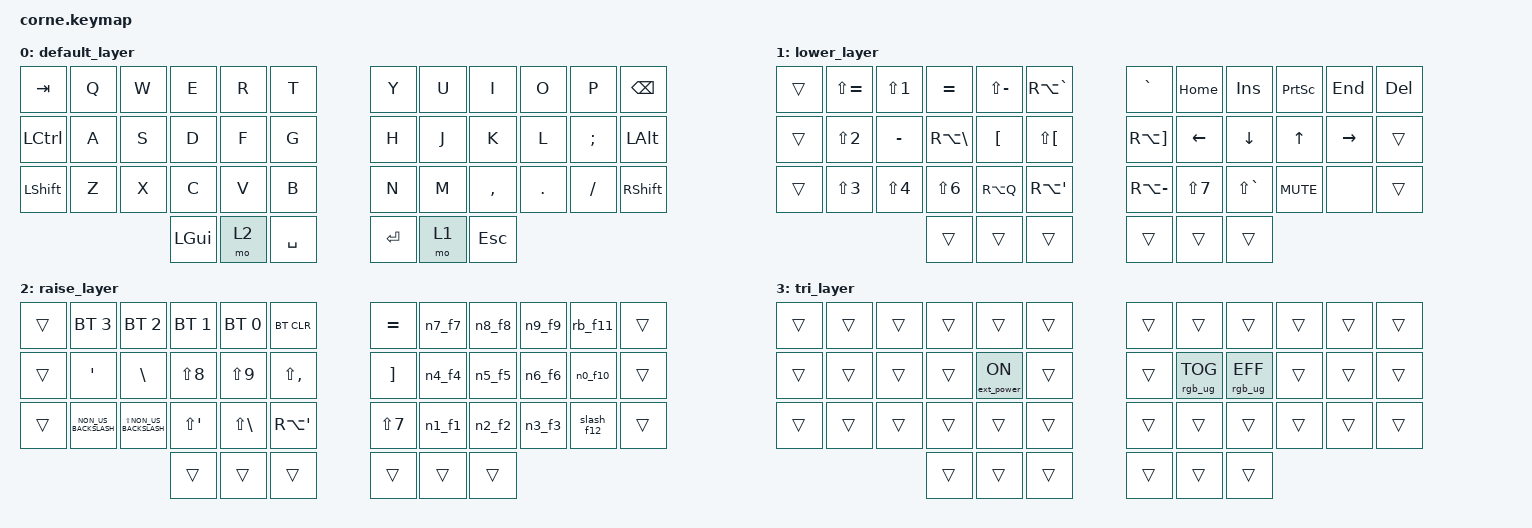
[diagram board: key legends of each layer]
/*
 * Copyright (c) 2020 The ZMK Contributors
 *
 * SPDX-License-Identifier: MIT
 */

#include <behaviors.dtsi>
#include <dt-bindings/zmk/bt.h>
#include <dt-bindings/zmk/keys.h>
#include <dt-bindings/led/led.h>
#include <dt-bindings/zmk/rgb.h>
#include <dt-bindings/zmk/ext_power.h>

/ {
    conditional_layers {
        compatible = "zmk,conditional-layers";
        tri_layer {
            if-layers = <1 2>;
            then-layer = <3>;
        };
    };
    
    behaviors {
        // Number/Function key mod.
        n1_f1: n1_or_f1 {
            compatible = "zmk,behavior-mod-morph";
            #binding-cells = <0>;
            bindings = <&kp N1>, <&kp F1>;
            mods = <(MOD_LSFT|MOD_RSFT)>;
        };
        n2_f2: n2_or_f2 {
            compatible = "zmk,behavior-mod-morph";
            #binding-cells = <0>;
            bindings = <&kp N2>, <&kp F2>;
            mods = <(MOD_LSFT|MOD_RSFT)>;
        };
        n3_f3: n3_or_f3 {
            compatible = "zmk,behavior-mod-morph";
            #binding-cells = <0>;
            bindings = <&kp N3>, <&kp F3>;
            mods = <(MOD_LSFT|MOD_RSFT)>;
        };
        n4_f4: n4_or_f4 {
            compatible = "zmk,behavior-mod-morph";
            #binding-cells = <0>;
            bindings = <&kp N4>, <&kp F4>;
            mods = <(MOD_LSFT|MOD_RSFT)>;
        };
        n5_f5: n5_or_f5 {
            compatible = "zmk,behavior-mod-morph";
            #binding-cells = <0>;
            bindings = <&kp N5>, <&kp F5>;
            mods = <(MOD_LSFT|MOD_RSFT)>;
        };
        n6_f6: n6_or_f6 {
            compatible = "zmk,behavior-mod-morph";
            #binding-cells = <0>;
            bindings = <&kp N6>, <&kp F6>;
            mods = <(MOD_LSFT|MOD_RSFT)>;
        };
        n7_f7: n7_or_f7 {
            compatible = "zmk,behavior-mod-morph";
            #binding-cells = <0>;
            bindings = <&kp N7>, <&kp F7>;
            mods = <(MOD_LSFT|MOD_RSFT)>;
        };
        n8_f8: n8_or_f8 {
            compatible = "zmk,behavior-mod-morph";
            #binding-cells = <0>;
            bindings = <&kp N8>, <&kp F8>;
            mods = <(MOD_LSFT|MOD_RSFT)>;
        };
        n9_f9: n9_or_f9 {
            compatible = "zmk,behavior-mod-morph";
            #binding-cells = <0>;
            bindings = <&kp N9>, <&kp F9>;
            mods = <(MOD_LSFT|MOD_RSFT)>;
        };
        n0_f10: n0_or_f10 {
            compatible = "zmk,behavior-mod-morph";
            #binding-cells = <0>;
            bindings = <&kp N0>, <&kp F10>;
            mods = <(MOD_LSFT|MOD_RSFT)>;
        };
        rb_f11: rb_or_f11 {
            compatible = "zmk,behavior-mod-morph";
            #binding-cells = <0>;
            bindings = <&kp LS(RIGHT_BRACKET)>, <&kp F11>;
            mods = <(MOD_LSFT|MOD_RSFT)>;
        };
        slash_f12: slash_or_f12 {
            compatible = "zmk,behavior-mod-morph";
            #binding-cells = <0>;
            bindings = <&kp SLASH>, <&kp F12>;
            mods = <(MOD_LSFT|MOD_RSFT)>;
        };
    };
    
    keymap {
        compatible = "zmk,keymap";

        default_layer {
            bindings = <
&kp TAB    &kp Q  &kp W  &kp E     &kp R  &kp T        &kp Y    &kp U  &kp I       &kp O    &kp P     &kp BSPC
&kp LCTRL  &kp A  &kp S  &kp D     &kp F  &kp G        &kp H    &kp J  &kp K       &kp L    &kp SEMI  &kp LEFT_ALT
&kp LSHFT  &kp Z  &kp X  &kp C     &kp V  &kp B        &kp N    &kp M  &kp COMMA   &kp DOT  &kp FSLH  &kp RSHFT
                         &kp LGUI  &mo 2  &kp SPACE    &kp RET  &mo 1  &kp ESCAPE
            >;
        };

        lower_layer {
            bindings = <
&trans  &kp LS(EQUAL)     &kp LS(NUMBER_1)  &kp EQUAL          &kp LS(MINUS)     &kp RA(GRAVE)           &kp GRAVE              &kp HOME        &kp INSERT      &kp PRINTSCREEN  &kp END    &kp DEL
&trans  &kp LS(NUMBER_2)  &kp MINUS         &kp RA(BACKSLASH)  &kp LEFT_BRACKET  &kp LS(LEFT_BRACKET)    &kp RA(RIGHT_BRACKET)  &kp LEFT_ARROW  &kp DOWN_ARROW  &kp UP_ARROW     &kp RIGHT  &trans
&trans  &kp LS(NUMBER_3)  &kp LS(NUMBER_4)  &kp LS(NUMBER_6)   &kp RA(Q)         &kp RA(SQT)             &kp RA(MINUS)          &kp LS(N7)      &kp LS(GRAVE)   &kp C_MUTE       &none      &trans
                                            &trans             &trans            &trans                  &trans                 &trans          &trans
            >;
        };

        raise_layer {
            bindings = <
&trans  &bt BT_SEL 3          &bt BT_SEL 2              &bt BT_SEL 1  &bt BT_SEL 0       &bt BT_CLR       &kp EQUAL          &n7_f7        &n8_f8        &n9_f9        &rb_f11                &trans
&trans  &kp SQT               &kp BACKSLASH             &kp LS(N8)    &kp LS(N9)         &kp LS(COMMA)    &kp RIGHT_BRACKET  &n4_f4        &n5_f5        &n6_f6        &n0_f10                &trans
&trans  &kp NON_US_BACKSLASH  &kp LS(NON_US_BACKSLASH)  &kp LS(SQT)   &kp LS(BACKSLASH)  &kp RA(SQT)      &kp LS(N7)         &n1_f1        &n2_f2        &n3_f3        &slash_f12             &trans
                                                        &trans        &trans             &trans           &trans             &trans        &trans
            >;
        };
        tri_layer {
            bindings = <
&trans  &trans  &trans  &trans  &trans             &trans      &trans  &trans           &trans           &trans  &trans  &trans
&trans  &trans  &trans  &trans  &ext_power EP_ON  &trans      &trans  &rgb_ug RGB_TOG  &rgb_ug RGB_EFF  &trans  &trans  &trans
&trans  &trans  &trans  &trans  &trans             &trans      &trans  &trans           &trans           &trans  &trans  &trans
                        &trans  &trans             &trans      &trans  &trans           &trans
            >;
        };
    };
};

&led_strip {
    chain-length = <27>;
};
